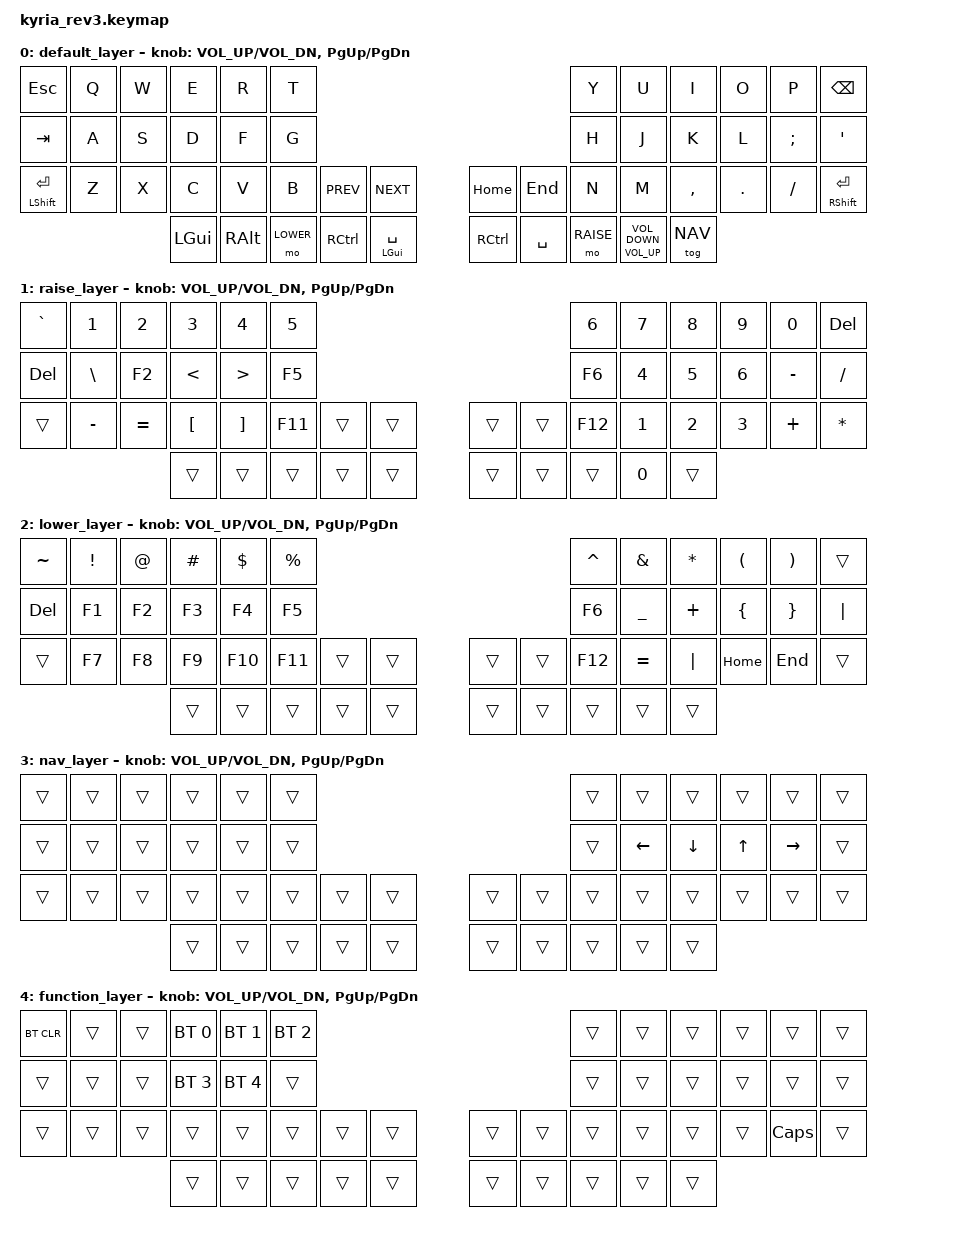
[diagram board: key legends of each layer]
/*
 * Copyright (c) 2023 The ZMK Contributors
 *
 * SPDX-License-Identifier: MIT
 */

#include <behaviors.dtsi>
#include <dt-bindings/zmk/bt.h>
#include <dt-bindings/zmk/keys.h>

#define DEFAULT 0
#define RAISE 1
#define LOWER 2
#define NAV 3
#define FUNC 4

/ {
    conditional_layers {
        compatible = "zmk,conditional-layers";
        tri_layer {
            if-layers = <1 2>;
            then-layer = <4>;
        };
    };
};

/ {
    combos {
        compatible = "zmk,combos";
        combo_refresh {
            timeout-ms = <50>;
            key-positions = <16 17>;
            bindings = <&kp F5>;
        };
        combo_l_arrow {
            timeout-ms = <50>;
            key-positions = <19 20>;
            bindings = <&kp LEFT_ARROW>;
        };
        combo_u_arrow {
            timeout-ms = <50>;
            key-positions = <8 9>;
            bindings = <&kp UP_ARROW>;
        };
        combo_d_arrow {
            timeout-ms = <50>;
            key-positions = <20 21>;
            bindings = <&kp DOWN_ARROW>;
        };
        combo_r_arrow {
            timeout-ms = <50>;
            key-positions = <21 22>;
            bindings = <&kp RIGHT_ARROW>;
        };
        combo_play {
            timeout-ms = <50>;
            key-positions = <30 31>;
            bindings = <&kp C_PLAY_PAUSE>;
        };
        combo_undo {
            timeout-ms = <50>;
            key-positions = <25 26>;
            bindings = <&kp LC(Z)>;
        };
        combo_cut {
            timeout-ms = <50>;
            key-positions = <26 27>;
            bindings = <&kp LC(X)>;
        };
        combo_copy {
            timeout-ms = <50>;
            key-positions = <27 28>;
            bindings = <&kp LC(C)>;
        };
        combo_paste {
            timeout-ms = <50>;
            key-positions = <28 29>;
            bindings = <&kp LC(V)>;
        };
        //combo_paste_all {
        //    timeout-ms = <50>;
        //   key-positions = <14 17>;
        //    bindings = <&kp LC(A) &kp LC(V)>;
        //};
    };
};

/ {

    keymap {
        compatible = "zmk,keymap";

        default_layer {
            // ---------------------------------------------------------------------------------------------------------------------------------
            // |  ESC  |  Q  |  W  |  E   |   R   |  T   |                                            |  Y   |  U  |  I    |  O   |   P   | BSPC |
            // |  TAB  |  A  |  S  |  D   |   F   |  G   |                                            |  H   |  J  |  K    |  L   |   ;   |   '  |
            // |  RET* |  Z  |  X  |  C   |   V   |  B   |  C_PREV |  C_NEXT | ** |  HOME   |   END   |  N   |  M  |  ,    |  .   |   /   | RET* | *enter when tapped, shft when held
            //                     | GUI  | R-ALT |  L2  |  RCTRL  | SPACE** | ** |  RCTRL  |  SPACE  |  L1  | VOL | NAV layer | **space when tapped, windows when held
            bindings = <
            &kp ESC   &kp Q &kp W &kp E &kp R &kp T                                                  &kp Y &kp U  &kp I     &kp O   &kp P    &kp BSPC
            &kp TAB   &kp A &kp S &kp D &kp F &kp G                                                  &kp H &kp J  &kp K     &kp L   &kp SEMI &kp SQT
            &mt LSHFT RET &kp Z &kp X &kp C &kp V &kp B &kp C_PREV &kp C_NEXT          &kp HOME &kp END &kp N &kp M  &kp COMMA &kp DOT &kp FSLH &mt RSHFT RET
                            &kp LGUI &kp RALT &mo LOWER &kp RCTRL &mt LGUI SPACE          &kp RCTRL &kp SPACE &mo RAISE &mt C_VOLUME_UP C_VOLUME_DOWN &tog NAV
            >;

            sensor-bindings = <&inc_dec_kp C_VOL_UP C_VOL_DN &inc_dec_kp PG_UP PG_DN>;
        };

        raise_layer {
            //-----------------------------------------------------------------------------------------------------------------------------------
            // |   `   |  1   |  2   |  3   |  4   |  5   |                                         |  6   |  7   |  8   |  9   |  0   |  DEL |
            // |  DEL  |  \   |  F2  |  <   |  >   |  F5  |                                         |  F6  |  4   |  5   |  6   |  -   |   /  |
            // |       |  -   |  =   |  [   |  ]   |  F11 | Vol -| Vol +|      **     |      |      |  F12 |  1   |  2   |  3   |  +   |   *  |
            //                       |      |      |      |      |      |      **     |      |      |      |  0   |      |
            bindings = <
            &kp GRAVE &kp NUMBER_1 &kp NUMBER_2 &kp NUMBER_3 &kp NUMBER_4 &kp NUMBER_5              &kp NUMBER_6 &kp NUMBER_7 &kp NUMBER_8 &kp NUMBER_9 &kp NUMBER_0 &kp DEL
            &kp DEL &kp BACKSLASH &kp F2 &kp LESS_THAN &kp GREATER_THAN &kp F5                    &kp F6 &kp NUMBER_4 &kp NUMBER_5 &kp NUMBER_6 &kp MINUS &kp SLASH
            &trans &kp MINUS &kp EQUAL &kp LEFT_BRACKET &kp RIGHT_BRACKET &kp F11 &trans &trans        &trans &trans &kp F12 &kp NUMBER_1 &kp NUMBER_2 &kp NUMBER_3 &kp PLUS &kp ASTERISK
                                              &trans &trans &trans &trans &trans        &trans &trans &trans &kp NUMBER_0 &trans
            >;

            sensor-bindings = <&inc_dec_kp C_VOL_UP C_VOL_DN &inc_dec_kp PG_UP PG_DN>;
        };

        lower_layer {
            // ---------------------------------------------------------------------------------------------------------------------------------
            // |   ~   |  !   |  @   |  #   |  $   |  %   |                                         |  ^   |  &   |  *   |  (   |  )   |      |
            // |  DEL  |  F1  |  F2  |  F3  |  F4  |  F5  |                                         |  F6  |  _   |  +   |  {   |  }   |  |   |
            // |       |  F7  |  F8  |  F9  |  F10 |  F11 | Vol -| Vol +|      **     |      |      |  F12 |  =   |  |   | HOME |  END |      |
            //                       |      |      |      |      |      |      **     |      |      |      |      |      |
            bindings = <
            &kp TILDE &kp EXCLAMATION &kp AT_SIGN &kp HASH &kp DOLLAR &kp PERCENT                   &kp CARET &kp AMPERSAND &kp ASTERISK &kp LEFT_PARENTHESIS &kp RIGHT_PARENTHESIS &trans
            &kp DEL   &kp F1  &kp F2  &kp F3  &kp F4  &kp F5                                        &kp F6 &kp UNDERSCORE &kp PLUS &kp LEFT_BRACE &kp RIGHT_BRACE &kp PIPE
            &trans    &kp F7  &kp F8 &kp F9 &kp F10 &kp F11 &trans &trans              &trans &trans &kp F12 &kp EQUAL &kp PIPE &kp HOME &kp END &trans
                                             &trans &trans &trans &trans &trans        &trans &trans &trans &trans &trans
            >;

            sensor-bindings = <&inc_dec_kp C_VOL_UP C_VOL_DN &inc_dec_kp PG_UP PG_DN>;
        };

        nav_layer {
            // ---------------------------------------------------------------------------------------------------------------------------------
            // |       |      |      |      |      |      |                                         |      |      |      |      |      |      |
            // |       |      |      |      |      |      |                                         |      | LEFT | DOWN |  UP  | RIGHT|      |
            // |       |      |      |      |      |      |      |      |      |  **  |      |      |      |      |      |      |      |      |
            //                       |      |      |      |      |      |      |  **  |      |      |      |      |      |
            bindings = <
            &trans &trans &trans &trans &trans &trans                                                 &trans &trans &trans &trans &trans &trans
            &trans &trans &trans &trans &trans &trans                                 &trans &kp LEFT_ARROW &kp DOWN_ARROW &kp UP_ARROW &kp RIGHT_ARROW &trans
            &trans &trans &trans &trans &trans &trans &trans &trans        &trans &trans &trans &trans &trans &trans &trans &trans
                                 &trans &trans &trans &trans &trans        &trans &trans &trans &trans &trans
            >;

            sensor-bindings = <&inc_dec_kp C_VOL_UP C_VOL_DN &inc_dec_kp PG_UP PG_DN>;
        };

        function_layer {
            // ---------------------------------------------------------------------------------------------------------------------------------
            // | BT_CLR|      |      |BTSEL0|BTSEL1|BTSEL2|                                       |      |      |      |      |      |      |
            // |       |      |      |BTSEL3|BTSEL4|      |                                       |      |      |      |      |      |      |
            // |       |      |      |      |      |      |      |      |      | ** |      |      |      |      |      |      | CAPS |      |
            //                       |      |      |      |      |      |      | ** |      |      |      |      |      |
            bindings = <
            &bt BT_CLR &trans &trans &bt BT_SEL 0 &bt BT_SEL 1 &bt BT_SEL 2                        &trans &trans &trans &trans &trans &trans
            &trans &trans &trans     &bt BT_SEL 3 &bt BT_SEL 4 &trans                              &trans &trans &trans &trans &trans &trans
            &trans &trans &trans &trans &trans &trans &trans &trans                  &trans &trans &trans &trans &trans &trans &kp CAPSLOCK &trans
                                            &trans &trans &trans &trans &trans       &trans &trans &trans &trans &trans
            >;

            sensor-bindings = <&inc_dec_kp C_VOL_UP C_VOL_DN &inc_dec_kp PG_UP PG_DN>;
        };

        // This was the default layer that came with the kb
        // function_layer {
        //     // ---------------------------------------------------------------------------------------------------------------------------------
        //     // | BT_CLR|      |      |BTSEL0|BTSEL1|BTSEL2|                                       |      |      |      |      |      |      |
        //     // |       |      |      |BTSEL3|BTSEL4|      |                                       |      |      |      |      |      |      |
        //     // |       |      |      |      |      |      |      |      |      | ** |      |      |      |      |      |      |      |      |
        //     //                       |      |      |      |      |      |      | ** |      |      |      |      |      |
        //     bindings = <
        //     &bt BT_CLR &trans &trans &bt BT_SEL 0 &bt BT_SEL 1 &bt BT_SEL 2              &trans &trans &trans &trans &trans &trans
        //     &trans &trans &trans     &bt BT_SEL 3 &bt BT_SEL 4 &trans                    &trans &trans &trans &trans &trans &trans
        //     &trans &trans &trans &trans &trans &trans &trans &trans        &trans &trans &trans &trans &trans &trans &trans &trans
        //                          &trans &trans &trans &trans &trans        &trans &trans &trans &trans &trans
        //     >;

        //     sensor-bindings = <&inc_dec_kp C_VOL_UP C_VOL_DN &inc_dec_kp PG_UP PG_DN>;
        // };
    };
};
